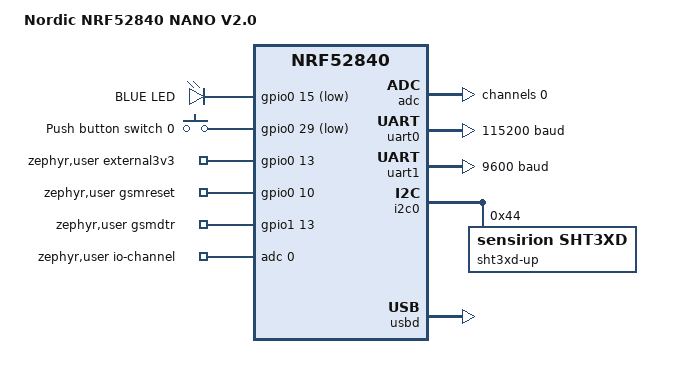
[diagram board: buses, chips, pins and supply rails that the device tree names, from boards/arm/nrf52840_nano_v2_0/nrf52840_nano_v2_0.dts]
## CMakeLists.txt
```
cmake_minimum_required(VERSION 3.20.0)
find_package(Zephyr REQUIRED HINTS $ENV{ZEPHYR_BASE})

project(mobilestation)

target_include_directories(app PRIVATE inc)

# Partition manager configuration file
ncs_add_partition_manager_config(pm_static.yml)

# python3 /root/ncs/bootloader/mcuboot/scripts/imgtool.py keygen -t ecdsa-p256 -k wlabapp.pem
set(mcuboot_CONFIG_BOOT_SIGNATURE_KEY_FILE \"${CMAKE_CURRENT_SOURCE_DIR}/wlabapp.pem\")

target_sources(app PRIVATE 
    src/periphery/uart_gsm.c
    src/periphery/gpio_sim800l.c
    src/periphery/gpio_ext3v3.c
    src/periphery/gpio_status_led.c
    src/periphery/gpio_user_btn.c
    src/periphery/adc_battery_vol.c
    src/main.c
    src/sample_storage.c
    src/nvs_data.c
    src/shell_commands.c
    src/sim800l.c
    src/wlab.c
    src/ble_worker.c
)
```

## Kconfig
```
source "Kconfig.zephyr"

config WDG_TIMEOUT_SEC
	int "Watchdoog timeout"
	default 30

config BUFF_MAX_STRING_LEN
	int "Maximum length for mqtt_broker or wlab name"
	default 32

config SIM800L_NET_WAIT_MAX_SEC
	int "Maximum number of seconds waiting for gsm network connection for sim800l modem"
	default 120
```

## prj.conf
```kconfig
CONFIG_MAIN_STACK_SIZE=2048
CONFIG_BUFF_MAX_STRING_LEN=48
CONFIG_SIM800L_NET_WAIT_MAX_SEC=60

# Use newlib C library for full standard library support
CONFIG_NEWLIB_LIBC=y
CONFIG_NEWLIB_LIBC_FLOAT_PRINTF=y

# Ble ota update
CONFIG_BT=y
CONFIG_BT_PERIPHERAL=y
CONFIG_BT_LBS=y
CONFIG_BOOTLOADER_MCUBOOT=y
CONFIG_NCS_SAMPLE_MCUMGR_BT_OTA_DFU=y
CONFIG_BT_ZEPHYR_NUS=y

# Peripherals
CONFIG_GPIO=y
CONFIG_SERIAL=y
CONFIG_ADC=y
CONFIG_ADC_SHELL=n

CONFIG_CONSOLE=y
CONFIG_UART_CONSOLE=y

CONFIG_LOG=y
CONFIG_LOG_PROCESS_THREAD_SLEEP_MS=100
CONFIG_LOG_MODE_DEFERRED=y
CONFIG_LOG_MAX_LEVEL=3
CONFIG_CBPRINTF_FP_SUPPORT=y
CONFIG_SHELL=y
CONFIG_CPU_LOAD=y
CONFIG_CPU_LOAD_CMDS=y

CONFIG_I2C=y
CONFIG_SENSOR=y

CONFIG_FLASH=y
CONFIG_FLASH_PAGE_LAYOUT=y
CONFIG_NVS=y
CONFIG_MPU_ALLOW_FLASH_WRITE=y
CONFIG_NVS_LOG_LEVEL_INF=n

CONFIG_SYSTEM_WORKQUEUE_STACK_SIZE=4096
CONFIG_REBOOT=y
CONFIG_ASSERT=y
```

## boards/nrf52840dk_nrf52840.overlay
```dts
/*
 * SPDX-License-Identifier: Apache-2.0
 *
 * Copyright (c) 2022 Nordic Semiconductor ASA
 */


/ {
	zephyr,user {
		io-channels = <&adc 0>;
	};
};

&adc {
	#address-cells = <1>;
	#size-cells = <0>;

	channel@0 {
		reg = <0>;
		zephyr,gain = "ADC_GAIN_1_6";
		zephyr,reference = "ADC_REF_INTERNAL";
		zephyr,acquisition-time = <ADC_ACQ_TIME_DEFAULT>;
		zephyr,input-positive = <NRF_SAADC_AIN0>; /* P0.02 */
		zephyr,resolution = <12>;
	};
};
```

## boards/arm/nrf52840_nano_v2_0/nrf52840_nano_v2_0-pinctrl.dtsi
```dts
/*
 * Copyright (c) 2022 Nordic Semiconductor
 * SPDX-License-Identifier: Apache-2.0
 */

&pinctrl {
	uart0_default: uart0_default {
		group1 {
			psels = <NRF_PSEL(UART_TX, 0, 6)>,
					<NRF_PSEL(UART_RTS, 0, 5)>;
		};
		group2 {
			psels = <NRF_PSEL(UART_RX, 0, 8)>,
					<NRF_PSEL(UART_CTS, 0, 7)>;
			bias-pull-up;
		};
	};

	uart0_sleep: uart0_sleep {
		group1 {
			psels = <NRF_PSEL(UART_TX, 0, 6)>,
			        <NRF_PSEL(UART_RX, 0, 8)>,
			        <NRF_PSEL(UART_RTS, 0, 5)>,
			        <NRF_PSEL(UART_CTS, 0, 7)>;
			low-power-enable;
		};
	};

	uart1_default: uart1_default {
		group1 {
			psels = <NRF_PSEL(UART_RX, 0, 24)>;
			bias-pull-up;
		};
		group2 {
			psels = <NRF_PSEL(UART_TX, 0, 22)>;
		};
	};

	uart1_sleep: uart1_sleep {
		group1 {
			psels = <NRF_PSEL(UART_RX, 0, 24)>,
					<NRF_PSEL(UART_TX, 0, 22)>;
			low-power-enable;
		};
	};

	i2c0_default: i2c0_default {
		group1 {
			psels = <NRF_PSEL(TWIM_SDA, 0, 20)>,
					<NRF_PSEL(TWIM_SCL, 0, 17)>;
		};
	};

	i2c0_sleep: i2c0_sleep {
		group1 {
			psels = <NRF_PSEL(TWIM_SDA, 0, 20)>,
					<NRF_PSEL(TWIM_SCL, 0, 17)>;
			low-power-enable;
		};
	};

	spi0_default: spi0_default {
		group1 {
			psels = <NRF_PSEL(SPIM_SCK, 0, 27)>,
			        <NRF_PSEL(SPIM_MOSI, 0, 26)>,
			        <NRF_PSEL(SPIM_MISO, 0, 29)>;
		};
	};

	spi0_sleep: spi0_sleep {
		group1 {
			psels = <NRF_PSEL(SPIM_SCK, 0, 27)>,
			        <NRF_PSEL(SPIM_MOSI, 0, 26)>,
			        <NRF_PSEL(SPIM_MISO, 0, 29)>;
			low-power-enable;
		};
	};

	spi1_default: spi1_default {
		group1 {
			psels = <NRF_PSEL(SPIM_SCK, 0, 31)>,
			        <NRF_PSEL(SPIM_MOSI, 0, 30)>,
			        <NRF_PSEL(SPIM_MISO, 1, 8)>;
		};
	};

	spi1_sleep: spi1_sleep {
		group1 {
			psels = <NRF_PSEL(SPIM_SCK, 0, 31)>,
			        <NRF_PSEL(SPIM_MOSI, 0, 30)>,
			        <NRF_PSEL(SPIM_MISO, 1, 8)>;
			low-power-enable;
		};
	};

	spi2_default: spi2_default {
		group1 {
			psels = <NRF_PSEL(SPIM_SCK, 0, 19)>,
			        <NRF_PSEL(SPIM_MOSI, 0, 20)>,
			        <NRF_PSEL(SPIM_MISO, 0, 21)>;
		};
	};

	spi2_sleep: spi2_sleep {
		group1 {
			psels = <NRF_PSEL(SPIM_SCK, 0, 19)>,
			        <NRF_PSEL(SPIM_MOSI, 0, 20)>,
			        <NRF_PSEL(SPIM_MISO, 0, 21)>;
			low-power-enable;
		};
	};

	qspi_default: qspi_default {
		group1 {
			psels = <NRF_PSEL(QSPI_SCK, 0, 19)>,
			        <NRF_PSEL(QSPI_IO0, 0, 20)>,
			        <NRF_PSEL(QSPI_IO1, 0, 21)>,
			        <NRF_PSEL(QSPI_IO2, 0, 22)>,
			        <NRF_PSEL(QSPI_IO3, 0, 23)>,
			        <NRF_PSEL(QSPI_CSN, 0, 17)>;
		};
	};

	qspi_sleep: qspi_sleep {
		group1 {
			psels = <NRF_PSEL(QSPI_SCK, 0, 19)>,
			        <NRF_PSEL(QSPI_IO0, 0, 20)>,
			        <NRF_PSEL(QSPI_IO1, 0, 21)>,
			        <NRF_PSEL(QSPI_IO2, 0, 22)>,
			        <NRF_PSEL(QSPI_IO3, 0, 23)>;
			low-power-enable;
		};
		group2 {
			psels = <NRF_PSEL(QSPI_CSN, 0, 17)>;
			low-power-enable;
			bias-pull-up;
		};
	};

	spi3_default: spi3_default {
		group1 {
			psels = <NRF_PSEL(SPIM_SCK, 1, 15)>,
			        <NRF_PSEL(SPIM_MISO, 1, 14)>,
			        <NRF_PSEL(SPIM_MOSI, 1, 13)>;
		};
	};

	spi3_sleep: spi3_sleep {
		group1 {
			psels = <NRF_PSEL(SPIM_SCK, 1, 15)>,
			        <NRF_PSEL(SPIM_MISO, 1, 14)>,
			        <NRF_PSEL(SPIM_MOSI, 1, 13)>;
			low-power-enable;
		};
	};

};
```

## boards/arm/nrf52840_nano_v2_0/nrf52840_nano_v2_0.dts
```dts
/*
 * Copyright (c) 2017 Linaro Limited
 *
 * SPDX-License-Identifier: Apache-2.0
 */

/dts-v1/;
#include <dt-bindings/gpio/gpio.h>
#include <nordic/nrf52840_qiaa.dtsi>
#include "nrf52840_nano_v2_0-pinctrl.dtsi"

/ {
	model = "Nordic NRF52840 NANO V2.0";
	compatible = "nordic,nrf52840-nano-v2-0";

	chosen {
		zephyr,console = &uart0;
		zephyr,shell-uart = &uart0;
		zephyr,uart-mcumgr = &uart0;
		zephyr,bt-mon-uart = &uart0;
		zephyr,bt-c2h-uart = &uart0;
		zephyr,sram = &sram0;
		zephyr,flash = &flash0;
		zephyr,code-partition = &slot0_partition;
		zephyr,ieee802154 = &ieee802154;
	};

	leds {
		compatible = "gpio-leds";
		led0: led_0 {
			gpios = <&gpio0 15 GPIO_ACTIVE_LOW>;
			label = "BLUE LED";
		};
	};

	buttons {
		compatible = "gpio-keys";
		button0: button_0 {
			gpios = <&gpio0 29 (GPIO_ACTIVE_LOW | GPIO_PULL_UP)>;
			label = "Push button switch 0";
		};
	};

	// These aliases are provided for compatibility with samples
	aliases {
		led0 = &led0;
		sw0 = &button0;
		bootloader-led0 = &led0;
		mcuboot-button0 = &button0;
		mcuboot-led0 = &led0;
		watchdog0 = &wdt0;
		uart-gsm = &uart1;
	};

	zephyr,user {
		external3v3-gpios = <&gpio0 13 GPIO_PULL_UP>;
		gsmreset-gpios = <&gpio0 10 GPIO_PULL_UP>;
		gsmdtr-gpios = <&gpio1 13 GPIO_PULL_DOWN>;
		io-channels = <&adc 0>;
	};
};

&adc {
	#address-cells = <1>;
	#size-cells = <0>;
	status = "okay";
	channel@0 {
		reg = <0>;
		zephyr,gain = "ADC_GAIN_1_6";
		zephyr,reference = "ADC_REF_INTERNAL";
		zephyr,acquisition-time = <ADC_ACQ_TIME_DEFAULT>;
		zephyr,input-positive = <NRF_SAADC_AIN0>; /* P0.02 for nRF52840 */
		zephyr,resolution = <12>;
	};
};

&gpiote {
	status = "okay";
};

&gpio0 {
	status = "okay";
};

&gpio1 {
	status = "okay";
};

&uart0 {
	compatible = "nordic,nrf-uarte";
	status = "okay";
	current-speed = <115200>;
	pinctrl-0 = <&uart0_default>;
	pinctrl-1 = <&uart0_sleep>;
	pinctrl-names = "default", "sleep";
};

&uart1 {
	compatible = "nordic,nrf-uarte";
	status = "okay";
	current-speed = <9600>;
	pinctrl-0 = <&uart1_default>;
	pinctrl-1 = <&uart1_sleep>;
	pinctrl-names = "default", "sleep";
};

&i2c0 {
	compatible = "nordic,nrf-twi";
	status = "okay";
	pinctrl-0 = <&i2c0_default>;
	pinctrl-1 = <&i2c0_sleep>;
	pinctrl-names = "default", "sleep";
	sht3xd-up@44 {
		compatible = "sensirion,sht3xd";
		reg = <0x44>;
	};
};

&flash0 {

	partitions {
		compatible = "fixed-partitions";
		#address-cells = <1>;
		#size-cells = <1>;

		boot_partition: partition@0 {
			label = "mcuboot";
			reg = <0x00000000 0x0000C000>;
		};
		slot0_partition: partition@c000 {
			label = "image-0";
			reg = <0x0000C000 0x00067000>;
		};
		slot1_partition: partition@73000 {
			label = "image-1";
			reg = <0x00073000 0x00067000>;
		};
		scratch_partition: partition@da000 {
			label = "image-scratch";
			reg = <0x000da000 0x0001e000>;
		};

		/*
		 * The flash starting at 0x000f8000 and ending at
		 * 0x000fffff is reserved for use by the application.
		 */

		/*
		 * Storage partition will be used by FCB/LittleFS/NVS
		 * if enabled.
		 */
		storage_partition: partition@f8000 {
			label = "storage";
			reg = <0x000f8000 0x00008000>;
		};
	};
};

zephyr_udc0: &usbd {
	compatible = "nordic,nrf-usbd";
	status = "okay";
};

// &i2c0_default {
	//     group2 {
		//         psels = <NRF_PSEL(TWIM_SCL, 0, 17)>, <NRF_PSEL(TWIM_SDA, 0, 20)>;
		//         bias-pull-up;
	//     };
// };

// &uart1_default {
	//     group2 {
		//         psels = <NRF_PSEL(UART_TX, 0, 22)>;
	//     };

	//     group1 {
		//         psels = <NRF_PSEL(UART_RX, 0, 24)>;
	//     };
// };
// /delete-node/ &{/pin-controller/i2c0_default/group1/};

// &uart1_sleep {
	//     group1 {
		//         psels = <NRF_PSEL(UART_RX, 0, 24)>, <NRF_PSEL(UART_TX, 0, 22)>;
	//     };
// };
```

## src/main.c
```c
/* ---------------------------------------------------------------------------
 *  mobilestation
 * ---------------------------------------------------------------------------
 *  Name: main.c
 * --------------------------------------------------------------------------*/
#include <debug/cpu_load.h>
#include <inttypes.h>
#include <stdint.h>
#include <zephyr/bluetooth/bluetooth.h>
#include <zephyr/bluetooth/conn.h>
#include <zephyr/bluetooth/gatt.h>
#include <zephyr/bluetooth/hci.h>
#include <zephyr/bluetooth/uuid.h>
#include <zephyr/device.h>
#include <zephyr/drivers/sensor.h>
#include <zephyr/kernel.h>
#include <zephyr/kernel_version.h>
#include <zephyr/logging/log.h>

#include "ble_worker.h"
#include "nvs_data.h"
#include "periphery/adc_battery_vol.h"
#include "periphery/gpio_ext3v3.h"
#include "periphery/gpio_status_led.h"
#include "periphery/gpio_user_btn.h"
#include "sim800l.h"
#include "version.h"
#include "wlab.h"

LOG_MODULE_REGISTER(MAIN, LOG_LEVEL_DBG);

int main(void) {
    uint32_t ver = sys_kernel_version_get();

    LOG_INF("Board: %s", CONFIG_BOARD);
    LOG_INF("Firmware: v%d Zephyr: %u.%u.%u", FIRMWARE_VERSION,
            SYS_KERNEL_VER_MAJOR(ver), SYS_KERNEL_VER_MINOR(ver),
            SYS_KERNEL_VER_PATCHLEVEL(ver));
    cpu_load_init();

    // Need to be as one of the first, modem is entered into sleep
    // mode to avoid ble radio problems and save energy while ble
    // connection ongoing
    gsm_modem_init();

    gpio_status_led_init();
    gpio_status_led_set_state(0);
    gpio_user_btn_init();
    adc_battery_vol_init();
    gpio_ext3v3_init();   // Enable external 3v3 by default
    nvs_data_init();

    ble_worker_init(30);
    wlab_init();

    for (;;) {
        wlab_proc();
        uint32_t cpu_load = cpu_load_get();
        LOG_WRN("CPU load: %u.%03u%%", cpu_load / 1000, cpu_load % 1000);
        cpu_load_reset();
        k_sleep(K_MSEC(10 * 1000));
    }
    return 0;
}

/* ---------------------------------------------------------------------------
 * end of file
 * --------------------------------------------------------------------------*/
```

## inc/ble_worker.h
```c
/* ---------------------------------------------------------------------------
 *  mobilestation
 * ---------------------------------------------------------------------------
 *  Name: ble_worker.h
 * --------------------------------------------------------------------------*/
#ifndef BLE_WORKER_H_
#define BLE_WORKER_H_

#include <stdint.h>

/**
 * @brief Initialize periphery, and configure advertising name.
 * BLE OTA and BLE NUS services enabled.
 * @param adv_time_sec Bluetooth advertising will be disabled after this time.
 */
void ble_worker_init(int32_t adv_time_sec);

#endif /* BLE_WORKER_H_ */
/* ---------------------------------------------------------------------------
 * end of file
 * --------------------------------------------------------------------------*/
```

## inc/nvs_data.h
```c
/* ---------------------------------------------------------------------------
 *  wlab_station
 * ---------------------------------------------------------------------------
 *  Name: nvs_data.h
 * --------------------------------------------------------------------------*/
#ifndef NVS_DATA_H_
#define NVS_DATA_H_

#include <stdint.h>
#include <zephyr/device.h>

#define NVS_PARTITION        storage_partition
#define NVS_PARTITION_DEVICE FIXED_PARTITION_DEVICE(NVS_PARTITION)
#define NVS_PARTITION_OFFSET FIXED_PARTITION_OFFSET(NVS_PARTITION)
#define NVS_PARTITION_SIZE   FIXED_PARTITION_SIZE(NVS_PARTITION)

#define NVS_ID_BOOT_COUNT        UINT16_C(1)
#define NVS_ID_MQTT_CONFIG       UINT16_C(2)
#define NVS_ID_WLAB_DEVICE_ID    UINT16_C(3)
#define NVS_ID_WLAB_PUB_PERIOD   UINT16_C(4)
#define NVS_ID_APN_CONFIG        UINT16_C(5)
#define NVS_ID_SAMPLE_CONT_IDX   UINT16_C(10)
#define NVS_ID_SAMPLE_CONT_START UINT16_C(100)
#define NVS_ID_SAMPLE_CONT_END   UINT16_C(100 + NVS_SAMPLE_MAX_NUM - 1)

struct arch_idx {
    uint32_t pushed_idx;
    uint32_t pulled_idx;
};

struct mqtt_config {
    char broker[CONFIG_BUFF_MAX_STRING_LEN];
    uint32_t port;
};

#define NVS_ID_APN_MAX_LEN (24)

struct apn_config {
    char apn[NVS_ID_APN_MAX_LEN];
    char user[NVS_ID_APN_MAX_LEN];
    char password[NVS_ID_APN_MAX_LEN];
};

/**
 * @brief Initialise none volatile storage space.
 *
 */
void nvs_data_init(void);

/**
 * @brief Read mqtt settings data, save in dst pointer.
 * Default, if not configured is filled with zeros.
 *
 * @param dst Pointer to save settings.
 */
void nvs_data_mqtt_config_get(struct mqtt_config *dst);

/**
 * @brief Save mqtt settings data.
 *
 * @param mqttconf Pointer with data do save
 * @return int 0 if success, -EIO otherwise
 */
int nvs_data_mqtt_config_set(struct mqtt_config *mqttconf);

/**
 * @brief Read wlab device id, if not exists, save UINT64_MAX
 *
 * @param device_id Pointer to save device_id.
 */
void nvs_data_wlab_device_id_get(uint64_t *device_id);

/**
 * @brief Save wlab device id.
 *
 * @param device_id Pointer with data do save
 * @return int 0 if success, -EIO otherwise
 */
int nvs_data_wlab_device_id_set(uint64_t *device_id);

/**
 * @brief Read wlab publish period.
 *
 * @param pub_period Destination of wlab gps position
 */
void nvs_data_wlab_pub_period_get(int64_t *pub_period);

/**
 * @brief Save wlab publish period.
 *
 * @param pub_period Pointer with data do save
 * @return int 0 if success, -EIO otherwise
 */
int nvs_data_wlab_pub_period_set(int64_t *pub_period);

/**
 * @brief Get APN configuration
 * Default apn is "TM" user "", password ""
 * @param apnconf 
 */
void nvs_data_apn_config_get(struct apn_config *apnconf);

/**
 * @brief Set APN configuration, maximum length
 * for all parameters is 23 chars
 * 
 * @param apnconf 
 * @return int 0 if success, -EIO otherwise
 */
int nvs_data_apn_config_set(struct apn_config *apnconf);

/**
 * @brief Pull sample from storage that failed to send
 * 
 * @param sample Pointer where sample will be send
 * @param len Not verify if exceed max sample length equals NVS_SAMPLE_SIZE
 * @param pull_idx Return index of sample that was stored in sample pointer
 * @return true Sample successfully taken
 * @return false No waiting sample in storage
 */
bool nvs_storage_sample_pull(void *sample, size_t len, uint16_t *pull_idx);

/**
 * @brief Mark giver sample index as send succesfully.
 * 
 * @param pull_idx 
 */
void nvs_storage_sample_mark_as_sent(uint16_t pull_idx);

/**
 * @brief Save sample that fails send. 
 * 
 * @param sample Pointer with sample to store
 * @param len Length of data to send
 * @return true 
 * @return false 
 */
bool nvs_storage_sample_push(void *sample, size_t len);

/**
 * @brief Set/Reset boot counter value
 * 
 * @param bootc New boot counter value
 * @return int 0 if success, -EIO otherwise
 */
int nvs_data_bootc_set(uint32_t bootc);

/**
 * @brief Get actual boot counter
 * 
 * @param bootc Pointer where data will be stored
 */
void nvs_data_bootc_get(uint32_t *bootc);

#endif /* NVS_DATA_H_ */
/* ---------------------------------------------------------------------------
 * end of file
 * --------------------------------------------------------------------------*/
```

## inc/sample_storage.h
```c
/* ---------------------------------------------------------------------------
 *  mobilestation
 * ---------------------------------------------------------------------------
 *  Name: sample_storage.h
 * --------------------------------------------------------------------------*/
#ifndef SAMPLE_STORAGE_H_
#define SAMPLE_STORAGE_H_

#include <stdbool.h>
#include <stddef.h>
#include <stdint.h>

#define NVS_SAMPLE_MAX_NUM (32)
#define NVS_SAMPLE_SIZE    (64)

/**
 * @brief Pull sample from storage that failed to send
 * 
 * @param sample Pointer where sample will be send
 * @param len Not verify if exceed max sample length equals NVS_SAMPLE_SIZE
 * @param pull_idx Return index of sample that was stored in sample pointer
 * @return true Sample successfully taken
 * @return false No waiting sample in storage
 */
bool sample_storage_pull(void *sample, size_t len, uint16_t *pull_idx);

/**
 * @brief Mark giver sample index as send succesfully.
 * 
 * @param pull_idx 
 */
void sample_storage_mark_as_sent(uint16_t pull_idx);

/**
 * @brief Save sample that fails send. 
 * 
 * @param sample Pointer with sample to store
 * @param len Length of data to send
 * @return true 
 * @return false 
 */
bool sample_storage_push(void *sample, size_t len);

/**
 * @brief Get number of samples waiting in arch
 * 
 * @return uint16_t Number of waiting samples
 */
uint16_t sample_storage_get_samples_num(void);

#endif /* SAMPLE_STORAGE_H_ */
/* ---------------------------------------------------------------------------
 * end of file
 * --------------------------------------------------------------------------*/
```

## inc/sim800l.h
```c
/* ---------------------------------------------------------------------------
 *  mobilestation
 * ---------------------------------------------------------------------------
 *  Name: sim800l.h
 * --------------------------------------------------------------------------*/
#ifndef SIM800L_H_
#define SIM800L_H_

#include <stdbool.h>
#include <stddef.h>
#include <stdint.h>

#include "nvs_data.h"

enum mqtt_publish_qos {
    MQTT_PUBLISH_QOS_0 = 0,
    MQTT_PUBLISH_QOS_1,
};

/**
 * @brief gsm_modem_init
 * Initilise neccessary staff.
 */
void gsm_modem_init(void);

/**
 * @brief gsm_modem_test
 * Test communication with modem. Uart based.
 * @return true 
 * @return false 
 */
bool gsm_modem_test(void);

/**
 * @brief gsm_modem_reset
 * Perform modem reseting.
 * @return true 
 * @return false 
 */
bool gsm_modem_reset(void);

/**
 * @brief gsm_modem_config
 * Perform modem configuration. Time synchronization, led disabling etc.
 * @return true 
 * @return false 
 */
bool gsm_modem_config(void);

/**
 * @brief gsm_modem_get_ts_utc
 * Get timestamp from gsm network. Local time is taken.
 * @param ts Pointer where timestamp will be stored. Epoch time in seconds.
 * @return true 
 * @return false 
 */
bool gsm_modem_get_ts_utc(int64_t *ts);

/**
 * @brief gsm_modem_net_setup
 * Setup gsm connection with broker. Doing this action Ip address is assigned and
 * TCP connection can be established.
 * @param apn Provide pointer to structure apn_config 
 * @return true Success
 * @return false Failed
 */
bool gsm_modem_net_setup(struct apn_config *apn);

/**
 * @brief gsm_modem_mqtt_connect
 * Establish mqtt connection with broker.
 * 
 * @param domain 
 * @param port 
 * @return true Success
 * @return false Failed
 */
bool gsm_modem_mqtt_connect(const char *domain, uint32_t port);

/**
 * @brief gsm_modem_mqtt_publish
 * 
 * @param topic Topic to publish, as string.
 * @param data Data bytes to publish.
 * @param len Length of data.
 * @return true Success
 * @return false Failed
 */
bool gsm_modem_mqtt_publish(const char *topic, uint8_t *data, size_t len,
                            uint8_t retires, enum mqtt_publish_qos qos);

/**
 * @brief gsm_modem_mqtt_close
 * Close mqtt connection, socket.
 */
void gsm_modem_mqtt_close(void);

/**
 * @brief gsm_modem_wakeup
 * Wakeup from sleep mode.
 * @return true Success
 * @return false Failed
 */
bool gsm_modem_wakeup(void);

/**
 * @brief gsm_modem_sleep
 * Enter sleep mode.
 * @return true Success
 * @return false Failed
 */
bool gsm_modem_sleep(void);

#endif /* SIM800L_H_ */
/* ---------------------------------------------------------------------------
 * end of file
 * --------------------------------------------------------------------------*/
```

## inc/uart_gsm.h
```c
/* ---------------------------------------------------------------------------
 *  mobilestation
 * ---------------------------------------------------------------------------
 *  Name: uart_gsm.h
 * --------------------------------------------------------------------------*/
#include <stdbool.h>
#include <stddef.h>
#include <stdint.h>

/**
 * @brief uartport_init
 * 
 */
void uart_gsm_init(void);

/**
 * @brief uart_gsm_send
 * 
 * @param tx_data Pointer with data to send
 * @param tx_len Number of bytes to send
 */
void uart_gsm_send(uint8_t *tx_data, size_t tx_len);

/**
 * @brief uart_gsm_read_bytes
 * 
 * @param rx_data Pointer where received data will be saved
 * @param rx_len Number of bytes to read
 * @param timeout Milliseconds to wait for data
 * @return true Got given bytes number
 * @return false Timeout occured
 */
bool uart_gsm_read_bytes(uint8_t *rx_data, size_t exp_len, int32_t timeout);

/**
 * @brief uart_gsm_read_line
 * 
 * @param rx_line Pointer where received data will be saved
 * @param rx_len Length of received line
 * @param timeout Milliseconds to wait for line
 * @return true Got line properly
 * @return false Timeout occured
 */
bool uart_gsm_read_line(char *rx_line, size_t max_len, int32_t timeout);

/**
 * @brief uart_gsm_rx_clear
 * 
 */
void uart_gsm_rx_clear(void);

/**
 * @brief uart_gsm_getc
 * 
 * @param chr Pointer where received byte will be stored
 * @param timeout 
 * @return true Got char properly
 * @return false Timeout occured
 */
bool uart_gsm_getc(uint8_t *chr, int32_t timeout);

/* ---------------------------------------------------------------------------
 * end of file
 * --------------------------------------------------------------------------*/
```

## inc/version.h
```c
/* ---------------------------------------------------------------------------
 *  mobilestation
 * ---------------------------------------------------------------------------
 *  Name: version.h
 * --------------------------------------------------------------------------*/
#ifndef VERSION_H_
#define VERSION_H_

// VERSION 1, NCS 2.5.3
// VERSION 2, NCS 2.7.0
// VERSION 3, NCS 2.7.0
// VERSION 4, NCS 2.7.0
// VERSION 5, NCS 2.7.0
#define FIRMWARE_VERSION (5)

#endif /* VERSION_H_ */
/* ---------------------------------------------------------------------------
 * end of file
 * --------------------------------------------------------------------------*/
```

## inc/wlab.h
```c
/* ---------------------------------------------------------------------------
 *  mobilestation
 * ---------------------------------------------------------------------------
 *  Name: wlab.h
 * --------------------------------------------------------------------------*/
#ifndef WLAB_H_
#define WLAB_H_

#include <stdbool.h>

#define WLAB_DEFAULT_PUB_PERIOD_MIN INT64_C(10)
#define WLAB_DEFAULT_SAMPLE_TOPIC   ("/wlabdb/bin")
#define WLAB_DEFAULT_ARCH_PUB_NUM   UINT8_C(4)

/**
 * @brief wlab_init
 * 
 */
void wlab_init(void);

/**
 * @brief wlab_proc
 * 
 */
void wlab_proc(void);

#endif /* WLAB_H_ */
/* ---------------------------------------------------------------------------
 * end of file
 * --------------------------------------------------------------------------*/
```

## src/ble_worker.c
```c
/* ---------------------------------------------------------------------------
 *  mobilestation
 * ---------------------------------------------------------------------------
 *  Name: ble_worker.c
 * --------------------------------------------------------------------------*/
#include "ble_worker.h"

#include <inttypes.h>
#include <stdint.h>
#include <stdio.h>
#include <stdlib.h>
#include <zephyr/bluetooth/bluetooth.h>
#include <zephyr/bluetooth/conn.h>
#include <zephyr/bluetooth/gatt.h>
#include <zephyr/bluetooth/hci.h>
#include <zephyr/bluetooth/services/nus.h>
#include <zephyr/bluetooth/uuid.h>
#include <zephyr/device.h>
#include <zephyr/kernel.h>
#include <zephyr/logging/log.h>
#include <zephyr/sys/byteorder.h>
#include <zephyr/sys/reboot.h>
#include <zephyr/sys/util.h>

#include "nvs_data.h"
#include "periphery/gpio_status_led.h"
#include "version.h"

LOG_MODULE_REGISTER(BLEW, LOG_LEVEL_DBG);

static void ble_worker_proc(void *, void *, void *);
#define BLE_WORKER_CMD_STACK_SIZE (2 * 1024)
#define BLE_WORKER_CMD_PRIORITY   (5)
K_THREAD_DEFINE(BleWorkerTid, BLE_WORKER_CMD_STACK_SIZE, ble_worker_proc, NULL,
                NULL, NULL, BLE_WORKER_CMD_PRIORITY, 0, 0);
K_SEM_DEFINE(NusReceivedSem, 0, 1);

static struct bt_conn *CurrentConn = NULL;

static char NusReceivedBuf[128];
static char NusAnswerBuf[1024];

static void connected(struct bt_conn *conn, uint8_t err) {
    if (err) {
        LOG_ERR("Connection failed (err %u)", err);
        return;
    }

    CurrentConn = bt_conn_ref(conn);
    LOG_INF("Connected");
}

static void disconnected(struct bt_conn *conn, uint8_t reason) {
    LOG_ERR("Disconnected (reason %u)", reason);

    CurrentConn = NULL;
}

BT_CONN_CB_DEFINE(conn_callbacks) = {
    .connected = connected,
    .disconnected = disconnected,
};

static void nus_notif_enabled(bool enabled, void *ctx) {
    ARG_UNUSED(ctx);

    LOG_INF("%s() - %s", __func__, (enabled ? "Enabled" : "Disabled"));
}

static void nus_received(struct bt_conn *conn, const void *data, uint16_t len,
                         void *ctx) {
    size_t message_len = MIN(sizeof(NusReceivedBuf) - 1, len);

    ARG_UNUSED(conn);
    ARG_UNUSED(ctx);

    if (message_len > 0) {
        memcpy(NusReceivedBuf, data, message_len);
        NusReceivedBuf[message_len] = '\0';
        k_sem_give(&NusReceivedSem);
    }
}

struct bt_nus_cb NusListener = {
    .notif_enabled = nus_notif_enabled,
    .received = nus_received,
};

static void ble_worker_proc(void *, void *, void *) {
    char reboot[] = "reboot";
    char pconfig[] = "pconfig";
    char apn[] = "apn";
    char mqttconf[] = "mqttconf";
    char pubp[] = "pubp";
    char help[] = "help";
    char deviceid[] = "deviceid";

    while (true) {
        if (0 != k_sem_take(&NusReceivedSem, K_FOREVER)) {
            continue;
        }

        size_t answer_len = 0;
        if (!memcmp(NusReceivedBuf, reboot, sizeof(reboot) - 1)) {
            // Reboot device
            sys_reboot(SYS_REBOOT_COLD);
        } else if (!memcmp(NusReceivedBuf, deviceid, sizeof(deviceid) - 1)) {
            uint64_t device_id =
                strtoull(NusReceivedBuf + sizeof(deviceid) + 1, NULL, 16);
            if (UINT64_C(0) != device_id) {
                device_id = sys_cpu_to_le64(device_id);
                nvs_data_wlab_device_id_set(&device_id);
                answer_len += sprintf(NusAnswerBuf + answer_len,
                                      "Use \"pconfig\" to verify\n");
            } else {
                answer_len += sprintf(NusAnswerBuf + answer_len,
                                      "Failed! Use \"help\"\n");
            }
        } else if (!memcmp(NusReceivedBuf, help, sizeof(help) - 1)) {
            uint32_t ver = sys_kernel_version_get();
            answer_len += sprintf(
                NusAnswerBuf + answer_len, "Firmware: v%d Zephyr: %u.%u.%u\n",
                FIRMWARE_VERSION, SYS_KERNEL_VER_MAJOR(ver),
                SYS_KERNEL_VER_MINOR(ver), SYS_KERNEL_VER_PATCHLEVEL(ver));
            answer_len +=
                sprintf(NusAnswerBuf + answer_len, "pubp <minutes>\n");
            answer_len += sprintf(NusAnswerBuf + answer_len,
                                  "mqttconf <broker_ip> <port>\n");
            answer_len += sprintf(NusAnswerBuf + answer_len,
                                  "apn <name> <user> <pass>\napn <name>\n");
            answer_len += sprintf(NusAnswerBuf + answer_len, "pconfig\n");
            answer_len += sprintf(NusAnswerBuf + answer_len, "help\n");
        } else if (!memcmp(NusReceivedBuf, pubp, sizeof(pubp) - 1)) {
            uint64_t pub_period = 0;
            uint32_t pubp_value = 0;
            int res = sscanf(NusReceivedBuf, "pubp %u", &pubp_value);
            if (1 == res) {
                pub_period = (uint64_t)pubp_value;
                nvs_data_wlab_pub_period_set(&pub_period);
                answer_len += sprintf(NusAnswerBuf + answer_len,
                                      "Use \"pconfig\" to verify\n");
            } else {
                answer_len += sprintf(NusAnswerBuf + answer_len,
                                      "Failed! Use \"help\"\n");
            }
        } else if (!memcmp(NusReceivedBuf, mqttconf, sizeof(mqttconf) - 1)) {
            struct mqtt_config mqttcfg = {};
            int res = sscanf(NusReceivedBuf, "mqttconf %s %u", mqttcfg.broker,
                             &mqttcfg.port);
            if (2 == res) {
                nvs_data_mqtt_config_set(&mqttcfg);
                answer_len += sprintf(NusAnswerBuf + answer_len,
                                      "Use \"pconfig\" to verify\n");
            } else {
                answer_len += sprintf(NusAnswerBuf + answer_len,
                                      "Failed! Use \"help\"\n");
            }
        } else if (!memcmp(NusReceivedBuf, apn, sizeof(apn) - 1)) {
            struct apn_config apn = {};
            int res = sscanf(NusReceivedBuf, "apn %s %s %s", apn.apn, apn.user,
                             apn.password);
            if (1 == res || 3 == res) {
                nvs_data_apn_config_set(&apn);
                answer_len += sprintf(NusAnswerBuf + answer_len,
                                      "Use \"pconfig\" to verify\n");
            } else {
                answer_len += sprintf(NusAnswerBuf + answer_len,
                                      "Failed! Use \"help\"\n");
            }
        } else if (!memcmp(NusReceivedBuf, pconfig, sizeof(pconfig) - 1)) {
            struct mqtt_config mqttcfg = {};
            uint64_t device_id = 0;
            uint64_t pub_period = 0;
            struct apn_config apn = {};

            nvs_data_mqtt_config_get(&mqttcfg);
            nvs_data_wlab_device_id_get(&device_id);
            nvs_data_wlab_pub_period_get(&pub_period);
            nvs_data_apn_config_get(&apn);

            answer_len += sprintf(NusAnswerBuf + answer_len,
                                  "mqtt_broker: <%s>\n", mqttcfg.broker);
            answer_len += sprintf(NusAnswerBuf + answer_len, "mqtt_port: %u\n",
                                  mqttcfg.port);
            answer_len +=
                sprintf(NusAnswerBuf + answer_len, "device_id: %04X%08X\n",
                        (uint32_t)(device_id >> 32), (uint32_t)(device_id));
            answer_len +=
                sprintf(NusAnswerBuf + answer_len, "publish_period: %u[mins]\n",
                        (uint32_t)pub_period);
            answer_len += sprintf(NusAnswerBuf + answer_len,
                                  "apn <%s>, user <%s>, password <%s>\n",
                                  apn.apn, apn.user, apn.password);
        } else {
            answer_len +=
                sprintf(NusAnswerBuf + answer_len, "Command not found");
        }

        if (answer_len > 0) {
            bt_nus_send(NULL, NusAnswerBuf, answer_len);
        }
    }
}

void ble_worker_init(int32_t adv_time_sec) {
    char ble_adv_name[16];
    uint64_t device_id = 0;

    nvs_data_wlab_device_id_get(&device_id);

    size_t ble_adv_name_len =
        sprintf(ble_adv_name, "WLAB_%X", ((uint32_t)device_id) & 0xFFFF);

    struct bt_data ad[] = {
        BT_DATA_BYTES(BT_DATA_FLAGS, (BT_LE_AD_GENERAL | BT_LE_AD_NO_BREDR)),
        BT_DATA(BT_DATA_NAME_COMPLETE, ble_adv_name, ble_adv_name_len),
    };

    int err = bt_nus_cb_register(&NusListener, NULL);
    if (err) {
        LOG_ERR("Failed to register NUS callback: %d", err);
        return;
    }

    err = bt_enable(NULL);
    if (err) {
        LOG_ERR("Bluetooth init failed (err %d)", err);
        goto DONE;
    }

    LOG_INF("Bluetooth initialized");

    err = bt_le_adv_start(BT_LE_ADV_CONN, ad, ARRAY_SIZE(ad), NULL, 0);
    if (err) {
        LOG_ERR("Advertising failed to start (err %d)", err);
        goto DONE;
    }

    int64_t adv_stop_ts =
        k_uptime_get() + INT64_C(1000) * (int64_t)adv_time_sec;

    do {
        k_sleep(K_MSEC(400));
        gpio_status_led_set_state(1);
        k_sleep(K_MSEC(2));
        gpio_status_led_set_state(0);
    } while ((adv_stop_ts > k_uptime_get()) || (CurrentConn != NULL));

    bt_le_adv_stop();
DONE:
    return;
}

/* ---------------------------------------------------------------------------
 * end of file
 * --------------------------------------------------------------------------*/
```

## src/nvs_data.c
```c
/* ---------------------------------------------------------------------------
 *  wlab_station
 * ---------------------------------------------------------------------------
 *  Name: nvs_data.c
 * --------------------------------------------------------------------------*/
#include "nvs_data.h"

#include <stdint.h>
#include <zephyr/device.h>
#include <zephyr/drivers/flash.h>
#include <zephyr/fs/nvs.h>
#include <zephyr/logging/log.h>
#include <zephyr/storage/flash_map.h>
#include <zephyr/sys/util.h>

#include "wlab.h"

LOG_MODULE_REGISTER(NVSD, LOG_LEVEL_DBG);

static struct nvs_fs Fs = {0};

// static struct arch_idx ArchIdx = {0, 0};

void nvs_data_init(void) {
    int ret = 0;
    struct flash_pages_info info = {0};

    Fs.flash_device = NVS_PARTITION_DEVICE;
    ret = device_is_ready(Fs.flash_device);
    __ASSERT((ret != 0), "Flash not ready");

    Fs.offset = NVS_PARTITION_OFFSET;
    ret = flash_get_page_info_by_offs(Fs.flash_device, Fs.offset, &info);
    __ASSERT((0 == ret), "Unable to get page info err %d", ret);

    LOG_INF("NVS sector size %u part size %u", info.size, NVS_PARTITION_SIZE);

    Fs.sector_size = info.size;
    Fs.sector_count = NVS_PARTITION_SIZE / info.size;

    ret = nvs_mount(&Fs);
    __ASSERT((0 == ret), "Flash mount failed");

    uint32_t boot_counter = UINT32_C(0);
    size_t area_len = sizeof(boot_counter);
    ret = nvs_read(&Fs, NVS_ID_BOOT_COUNT, &boot_counter, area_len);
    if (ret > 0) {
        // Item found, show it
        LOG_INF("boot counter: %d", boot_counter);
    } else {
        // Item not found, add it
        LOG_INF("No boot counter found, adding it at id %d", NVS_ID_BOOT_COUNT);
    }
    boot_counter++;

    // area_len = sizeof(struct arch_idx);
    // ret = nvs_read(&Fs, NVS_ID_SAMPLE_CONT_IDX, &ArchIdx, area_len);
    // if (0 == ret) {
    //     ArchIdx.pushed_idx = NVS_ID_SAMPLE_CONT_START;
    //     ArchIdx.pulled_idx = NVS_ID_SAMPLE_CONT_START;
    //     nvs_write(&Fs, NVS_ID_SAMPLE_CONT_IDX, &ArchIdx, area_len);
    // } else {
    //     if (ArchIdx.pushed_idx > NVS_ID_SAMPLE_CONT_END ||
    //         ArchIdx.pushed_idx < NVS_ID_SAMPLE_CONT_START ||
    //         ArchIdx.pulled_idx > NVS_ID_SAMPLE_CONT_END ||
    //         ArchIdx.pulled_idx < NVS_ID_SAMPLE_CONT_START) {
    //         // Some bad values read, restore defaults
    //         LOG_ERR("pushed_idx/pulled_idx bad values read, restore defaults");
    //         ArchIdx.pushed_idx = NVS_ID_SAMPLE_CONT_START;
    //         ArchIdx.pulled_idx = NVS_ID_SAMPLE_CONT_START;
    //         nvs_write(&Fs, NVS_ID_SAMPLE_CONT_IDX, &ArchIdx, area_len);
    //     }
    // }

    // LOG_INF("PUSHED_IN %u", ArchIdx.pushed_idx);
    // LOG_INF("PULLED_OUT %u", ArchIdx.pulled_idx);

    if (area_len ==
        nvs_write(&Fs, NVS_ID_BOOT_COUNT, &boot_counter, area_len)) {
        LOG_INF("Save boot counter %d succ", boot_counter);
    } else {
        LOG_ERR("Save boot counter %d err", boot_counter);
    }
}

// bool nvs_storage_sample_push(void *sample, size_t len) {
//     bool res = false;
//     uint8_t buffer[NVS_SAMPLE_SIZE];

//     LOG_INF("Push to arch, PushedIn %u PulledOut %u", ArchIdx.pushed_idx,
//             ArchIdx.pulled_idx);
//     if (ArchIdx.pushed_idx == (ArchIdx.pulled_idx - 1) ||
//         (ArchIdx.pushed_idx == NVS_ID_SAMPLE_CONT_END &&
//          (NVS_ID_SAMPLE_CONT_START == ArchIdx.pulled_idx))) {
//         LOG_ERR("No free space to push sample in");
//     } else {
//         uint16_t push_idx = (ArchIdx.pushed_idx + 1) % NVS_SAMPLE_MAX_NUM;
//         memset(buffer, 0x00, NVS_SAMPLE_SIZE);
//         memcpy(buffer, sample, len);
//         if (NVS_SAMPLE_SIZE ==
//             nvs_write(&Fs, push_idx, buffer, NVS_SAMPLE_SIZE)) {
//             ArchIdx.pushed_idx = push_idx;
//             nvs_write(&Fs, NVS_ID_SAMPLE_CONT_IDX, &ArchIdx.pushed_idx,
//                       sizeof(uint16_t));
//             res = true;
//         }
//     }

//     return (res);
// }

// void nvs_storage_sample_mark_as_sent(uint16_t pull_idx) {
//     ArchIdx.pulled_idx = pull_idx + 1;
//     nvs_write(&Fs, NVS_ID_SAMPLE_CONT_IDX, &ArchIdx, sizeof(uint16_t));
// }

// bool nvs_storage_sample_pull(void *sample, size_t len, uint16_t *pull_idx) {
//     bool res = false;
//     uint8_t buffer[NVS_SAMPLE_SIZE];

//     if (ArchIdx.pushed_idx != ArchIdx.pulled_idx) {
//         int ret = nvs_read(&Fs, ArchIdx.pulled_idx, buffer, NVS_SAMPLE_SIZE);
//         if (ret <= 0) {
//             LOG_ERR("Failed to read sample %d", ret);
//         } else {
//             memcpy(sample, buffer, len);
//             *pull_idx = ArchIdx.pulled_idx;
//             res = true;
//         }
//     } else {
//         LOG_INF("No samples waiting to send");
//     }

//     return (res);
// }

void nvs_data_apn_config_get(struct apn_config *apnconf) {
    __ASSERT((apnconf != NULL), "Null pointer passed");
    size_t apn_config_len = sizeof(struct apn_config);

    int ret = nvs_read(&Fs, NVS_ID_APN_CONFIG, apnconf, apn_config_len);
    if (ret <= 0) {
        LOG_WRN("No apn config found, clear...");
        memset(apnconf, 0x00, apn_config_len);
        strcpy(apnconf->apn, "TM");
        if (apn_config_len ==
            nvs_write(&Fs, NVS_ID_APN_CONFIG, apnconf, apn_config_len)) {
            LOG_DBG("APN config cleared");
        } else {
            LOG_ERR("APN config clear failed");
        }
    }
}

int nvs_data_bootc_set(uint32_t bootc) {
    int ret = 0;
    size_t len = sizeof(uint32_t);
    if (len == nvs_write(&Fs, NVS_ID_BOOT_COUNT, &bootc, len)) {
        LOG_DBG("BootC config set success");
    } else {
        LOG_ERR("BootC config set failed");
        ret = -EIO;
    }
    return (ret);
}

void nvs_data_bootc_get(uint32_t *bootc) {
    nvs_read(&Fs, NVS_ID_BOOT_COUNT, bootc, sizeof(uint32_t));
}

int nvs_data_apn_config_set(struct apn_config *apnconf) {
    __ASSERT((apnconf != NULL), "Null pointer passed");
    int ret = 0;
    size_t apn_config_len = sizeof(struct apn_config);
    if (apn_config_len ==
        nvs_write(&Fs, NVS_ID_APN_CONFIG, apnconf, apn_config_len)) {
        LOG_DBG("APN config set success");
    } else {
        LOG_ERR("APN config set failed");
        ret = -EIO;
    }
    return (ret);
}

void nvs_data_mqtt_config_get(struct mqtt_config *mqttconf) {
    __ASSERT((mqttconf != NULL), "Null pointer passed");
    size_t mqtt_config_len = sizeof(struct mqtt_config);

    int ret = nvs_read(&Fs, NVS_ID_MQTT_CONFIG, mqttconf, mqtt_config_len);
    if (ret <= 0) {
        LOG_WRN("No mqtt config found, clear...");
        memset(mqttconf, 0x00, mqtt_config_len);
        if (mqtt_config_len ==
            nvs_write(&Fs, NVS_ID_MQTT_CONFIG, mqttconf, mqtt_config_len)) {
            LOG_DBG("Mqtt config cleared");
        } else {
            LOG_ERR("Mqtt config clear failed");
        }
    }
}

int nvs_data_mqtt_config_set(struct mqtt_config *mqttconf) {
    __ASSERT((mqttconf != NULL), "Null pointer passed");
    int ret = 0;
    size_t mqtt_config_len = sizeof(struct mqtt_config);
    if (mqtt_config_len ==
        nvs_write(&Fs, NVS_ID_MQTT_CONFIG, mqttconf, mqtt_config_len)) {
        LOG_DBG("Mqtt config set success");
    } else {
        LOG_ERR("Mqtt config set failed");
        ret = -EIO;
    }
    return (ret);
}

void nvs_data_wlab_device_id_get(uint64_t *device_id) {
    __ASSERT((device_id != NULL), "Null pointer passed");
    size_t wlab_device_id_len = sizeof(uint64_t);

    int ret =
        nvs_read(&Fs, NVS_ID_WLAB_DEVICE_ID, device_id, wlab_device_id_len);
    if (ret <= 0) {
        LOG_WRN("No device id found, clear...");
        memset(device_id, 0x00, wlab_device_id_len);
        if (wlab_device_id_len == nvs_write(&Fs, NVS_ID_WLAB_DEVICE_ID,
                                            device_id, wlab_device_id_len)) {
            LOG_DBG("Wlab device id clear success");
        } else {
            LOG_ERR("Wlab device id clear failed");
        }
    }
}

int nvs_data_wlab_device_id_set(uint64_t *device_id) {
    __ASSERT((device_id != NULL), "Null pointer passed");
    size_t wlab_device_id_len = sizeof(uint64_t);

    int ret = 0;
    if (wlab_device_id_len ==
        nvs_write(&Fs, NVS_ID_WLAB_DEVICE_ID, device_id, wlab_device_id_len)) {
        LOG_DBG("Wlab device id set success");
    } else {
        LOG_ERR("Wlab device id set failed");
        ret = -EIO;
    }
    return (ret);
}

void nvs_data_wlab_pub_period_get(int64_t *pub_period) {
    __ASSERT((pub_period != NULL), "Null pointer passed");
    size_t wlab_pub_period_len = sizeof(int64_t);

    int ret =
        nvs_read(&Fs, NVS_ID_WLAB_PUB_PERIOD, pub_period, wlab_pub_period_len);
    if (ret <= 0) {
        LOG_WRN("No wlab publish period found, default");
        memset(pub_period, WLAB_DEFAULT_PUB_PERIOD_MIN, wlab_pub_period_len);
        if (wlab_pub_period_len == nvs_write(&Fs, NVS_ID_WLAB_PUB_PERIOD,
                                             pub_period, wlab_pub_period_len)) {
            LOG_DBG("Wlab device id clear success");
        } else {
            LOG_ERR("Wlab device id clear failed");
        }
    }
}

int nvs_data_wlab_pub_period_set(int64_t *pub_period) {
    __ASSERT((pub_period != NULL), "Null pointer passed");
    size_t wlab_pub_period_len = sizeof(int64_t);

    int ret = 0;
    if (wlab_pub_period_len == nvs_write(&Fs, NVS_ID_WLAB_PUB_PERIOD,
                                         pub_period, wlab_pub_period_len)) {
        LOG_DBG("Wlab device id set success");
    } else {
        LOG_ERR("Wlab device id set failed");
        ret = -EIO;
    }
    return (ret);
}

/* ---------------------------------------------------------------------------
 * end of file
 * --------------------------------------------------------------------------*/
```

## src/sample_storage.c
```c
/* ---------------------------------------------------------------------------
 *  mobilestation
 * ---------------------------------------------------------------------------
 *  Name: sample_storage.c
 * --------------------------------------------------------------------------*/
#include "sample_storage.h"

#include <stdbool.h>
#include <stddef.h>
#include <stdint.h>
#include <stdlib.h>
#include <string.h>
#include <zephyr/logging/log.h>

LOG_MODULE_REGISTER(SS, LOG_LEVEL_DBG);

static uint16_t StoredN = 0;
static uint16_t PullIdx = 0;
static uint16_t PushIdx = 0;
static uint8_t SampleStorage[NVS_SAMPLE_MAX_NUM][NVS_SAMPLE_SIZE];

static bool save_sample_idx(void *sample, size_t len, uint16_t idx) {
    memcpy(SampleStorage[idx], sample, len);
    return (true);
}

static bool read_sample_idx(void *sample, size_t len, uint16_t idx) {
    memcpy(sample, SampleStorage[idx], len);
    return (true);
}

void sample_storage_init(void) {
    LOG_INF("sample_storage_init");
}

uint16_t sample_storage_get_samples_num(void) {
    return (StoredN);
}

void sample_storage_mark_as_sent(uint16_t pull_idx) {
    PullIdx = (pull_idx + 1) % NVS_SAMPLE_MAX_NUM;
    StoredN--;
}

bool sample_storage_pull(void *sample, size_t pull_len, uint16_t *pull_idx) {
    bool res = false;
    uint8_t buffer[NVS_SAMPLE_SIZE];

    if (pull_len > NVS_SAMPLE_SIZE) {
        LOG_ERR("pull_len > NVS_SAMPLE_SIZE");
        goto DONE;
    }

    LOG_INF("PULL PushIdx %u PullIdx %u N %u", PushIdx, PullIdx, StoredN);

    if (StoredN > 0) {
        res = read_sample_idx(buffer, NVS_SAMPLE_SIZE, PullIdx);
        if (!res) {
            LOG_ERR("Failed to read sample_idx %u", PullIdx);
        } else {
            *pull_idx = PullIdx;
            memcpy(sample, buffer, pull_len);
            res = true;
        }
    } else {
        LOG_INF("No samples waiting to send");
    }

DONE:
    return (res);
}

bool sample_storage_push(void *sample, size_t push_len) {
    bool res = false;
    uint8_t buffer[NVS_SAMPLE_SIZE];

    if (push_len > NVS_SAMPLE_SIZE) {
        LOG_ERR("push_len > NVS_SAMPLE_SIZE");
        goto DONE;
    }

    LOG_INF("PUSH PushIdx %u PullIdx %u N %u", PushIdx, PullIdx, StoredN);
    if (NVS_SAMPLE_MAX_NUM == StoredN) {
        LOG_ERR("No free space to push sample in");
    } else {
        memset(buffer, 0x00, NVS_SAMPLE_SIZE);
        memcpy(buffer, sample, push_len);
        if (save_sample_idx(buffer, NVS_SAMPLE_SIZE, PushIdx)) {
            PushIdx = (PushIdx + 1) % NVS_SAMPLE_MAX_NUM;
            StoredN++;
            res = true;
        }
    }

DONE:
    return (res);
}

/* ---------------------------------------------------------------------------
 * end of file
 * --------------------------------------------------------------------------*/
```
